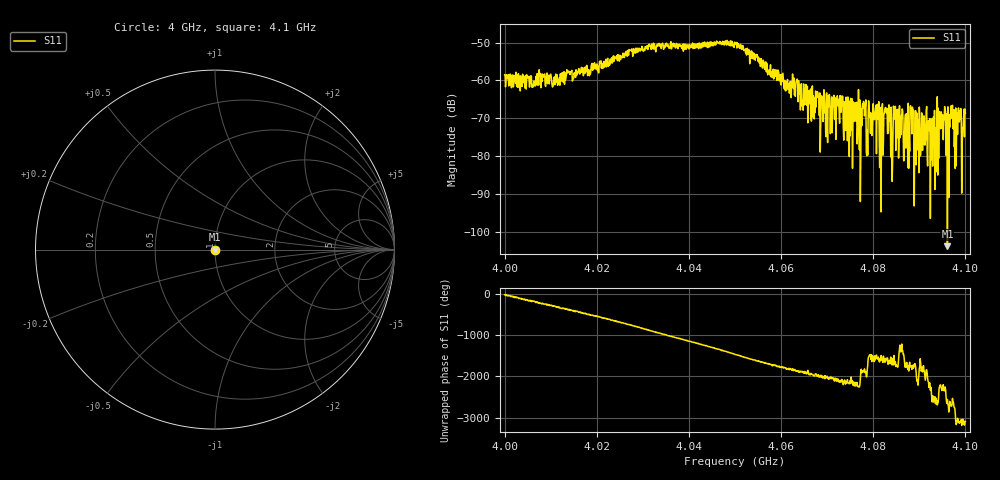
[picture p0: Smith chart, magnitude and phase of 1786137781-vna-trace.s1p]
! Created with skrf 1.10.0 (http://scikit-rf.org).
# Hz S RI R 50.0
!freq ReS11 ImS11
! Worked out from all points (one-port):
!   1001 points, 4 GHz to 4.1 GHz, reference 50 ohm
!   lowest |S11| = -103.8 dB at 4.0961 GHz (marker M1), VSWR 1.00, Z = 50 - j0.000405 ohm
!   |S11| at or under -10 dB: start of sweep to end of sweep
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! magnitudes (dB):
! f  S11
! 4 GHz  -58.5
! 4.0125 GHz  -57.9
! 4.025 GHz  -53.3
! 4.0375 GHz  -50.6
! 4.05 GHz  -50.5
! 4.0625 GHz  -58.3
! 4.0661 GHz  -66.2
! 4.0712 GHz  -65.1
! 4.0729 GHz  -65.2
! 4.075 GHz  -74.6
! 4.0764 GHz  -65.8
! 4.077 GHz  -78.4
! 4.0779 GHz  -65.6
! 4.079 GHz  -65.4
! 4.0804 GHz  -69.2
! 4.0818 GHz  -70.4
! 4.083 GHz  -67.4
! 4.0837 GHz  -67.2
! 4.0849 GHz  -78.5
! 4.0875 GHz  -83.1
! 4.0883 GHz  -67.9
! 4.0894 GHz  -74.1
! 4.0931 GHz  -69.6
! 4.0952 GHz  -75.7
! 4.0961 GHz  -103.8
! 4.097 GHz  -69.8
! 4.0978 GHz  -83.3
! 4.1 GHz  -68.7
